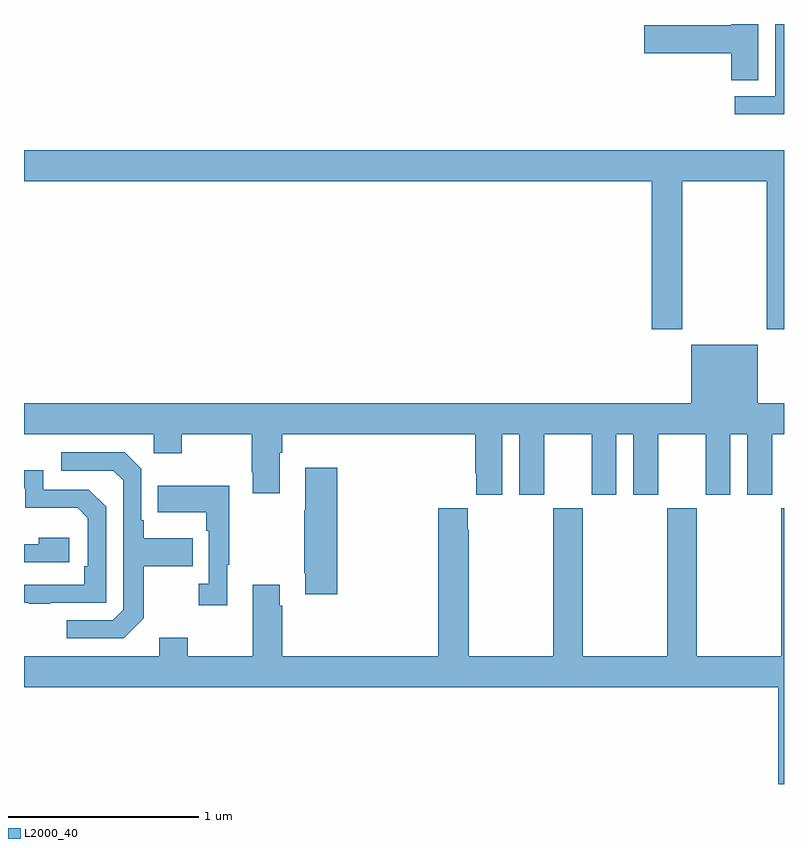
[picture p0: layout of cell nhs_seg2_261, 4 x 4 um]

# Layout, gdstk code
import gdstk
lib = gdstk.Library(unit=1e-6, precision=1e-09)
def P(c, l, *ps):  # polygons
    for p in ps: c.add(gdstk.Polygon(p, *l))
L2000_40 = (2000, 40)

nhs_seg2_261 = lib.new_cell('nhs_seg2_261')
P(nhs_seg2_261, L2000_40, [(127,645.8),(126.954,645.8),(126.954,645.42),(126.741,645.42),(126.741,645.324),(127,645.324)],
  [(126.865,645.8),(126.722,645.8),(126.722,645.794),(126.264,645.794),(126.264,645.647),(126.722,645.647),(126.722,645.505),(126.865,645.505)],
  [(126.465,644.972),(126.91,644.972),(126.91,644.193),(127,644.193),(127,645.136),(123,645.136),(123,644.972),(126.305,644.972),(126.305,644.193),(126.465,644.193)],
  [(125.518,643.64),(125.606,643.64),(125.606,643.323),(125.737,643.323),(125.737,643.64),(125.987,643.64),(125.987,643.323),(126.118,643.323),(126.118,643.64),(126.206,643.64),(126.206,643.323),(126.337,643.323),(126.337,643.64),(126.587,643.64),(126.587,643.323),(126.718,643.323),(126.718,643.64),(126.806,643.64),(126.806,643.323),(126.937,643.323),(126.937,643.64),(127,643.64),(127,643.804),(126.862,643.804),(126.862,644.113),(126.512,644.113),(126.512,643.804),(123,643.804),(123,643.64),(123.684,643.64),(123.684,643.541),(123.831,643.541),(123.831,643.64),(124.198,643.64),(124.198,643.441),(124.205,643.441),(124.205,643.329),(124.345,643.329),(124.345,643.544),(124.358,643.544),(124.358,643.64),(125.375,643.64),(125.375,643.435),(125.381,643.435),(125.381,643.323),(125.518,643.323)],
  [(123.631,642.673),(123.631,642.946),(123.887,642.946),(123.887,643.093),(123.631,643.093),(123.631,643.189),(123.618,643.189),(123.618,643.458),(123.531,643.545),(123.195,643.545),(123.195,643.449),(123.471,643.449),(123.522,643.398),(123.522,642.717),(123.468,642.663),(123.225,642.663),(123.225,642.567),(123.525,642.567)],
  [(124.649,643.465),(124.481,643.465),(124.481,643.241),(124.474,643.241),(124.474,642.91),(124.481,642.91),(124.481,642.798),(124.649,642.798)],
  [(123.137,642.753),(123.432,642.753),(123.432,643.26),(123.342,643.35),(123.102,643.35),(123.102,643.452),(123,643.452),(123,643.356),(123.006,643.356),(123.006,643.253),(123.283,643.253),(123.336,643.2),(123.336,642.946),(123.316,642.946),(123.316,642.849),(123,642.849),(123,642.753),(123.025,642.753),(123.025,642.748),(123.137,642.748)],
  [(124.069,642.953),(124.081,642.953),(124.081,643.369),(123.703,643.369),(123.703,643.229),(123.96,643.229),(123.96,643.133),(123.972,643.133),(123.972,642.854),(123.921,642.854),(123.921,642.741),(124.069,642.741)],
  [(127,643.252),(126.985,643.252),(126.985,642.472),(126.54,642.472),(126.54,643.252),(126.385,643.252),(126.385,642.472),(125.94,642.472),(125.94,643.252),(125.785,643.252),(125.785,642.472),(125.34,642.472),(125.34,643.139),(125.335,643.139),(125.335,643.252),(125.18,643.252),(125.18,642.472),(124.358,642.472),(124.358,642.737),(124.345,642.737),(124.345,642.85),(124.205,642.85),(124.205,642.472),(123.861,642.472),(123.861,642.571),(123.713,642.571),(123.713,642.472),(123,642.472),(123,642.308),(126.971,642.308),(126.971,641.8),(127,641.8)],
  [(123.238,643.096),(123.077,643.096),(123.077,643.062),(123,643.062),(123,642.966),(123.238,642.966)])

lib.write_gds('nhs_seg2_261.gds')
